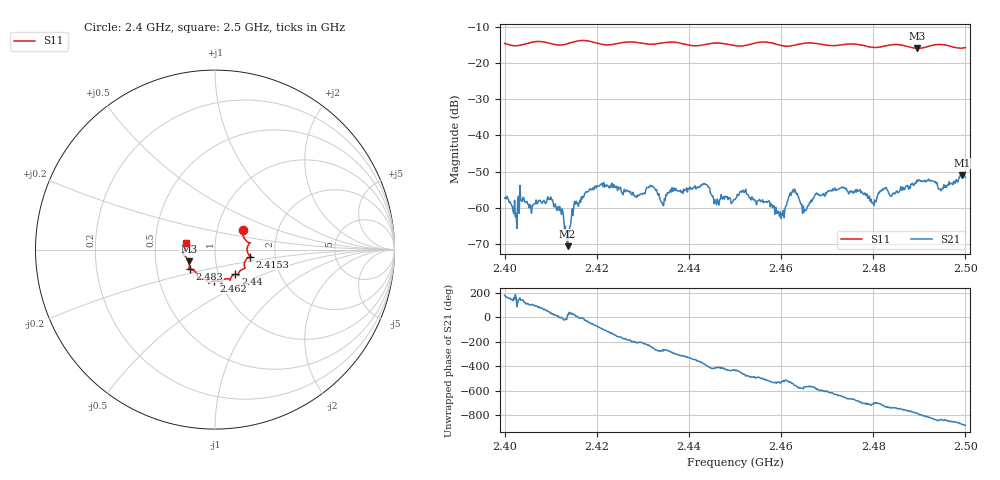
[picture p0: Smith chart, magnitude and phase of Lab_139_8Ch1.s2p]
# Hz S RI R 50
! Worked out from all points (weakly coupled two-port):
!   601 points, 2.4 GHz to 2.5 GHz, reference 50 ohm
!   highest |S21| = -50.95 dB at 2.4993 GHz (marker M1); lowest = -70.7 dB at 2.4137 GHz (marker M2)
!   lowest |S11| = -15.9 dB at 2.4895 GHz (marker M3), VSWR 1.38, Z = 36.9 - j4.99 ohm
!   |S11| at or under -10 dB: start of sweep to end of sweep
!   S12 and S22 are empty: the file has one direction only
!   S11 on the Smith chart (normalised r, x): 2.4 GHz: 1.33, +0.29; 2.4153 GHz: 1.48, -0.12; 2.44 GHz: 1.20, -0.34; 2.462 GHz: 0.93, -0.33; 2.483 GHz: 0.74, -0.17; 2.5 GHz: 0.72, +0.06
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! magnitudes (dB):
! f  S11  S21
! 2.4 GHz  -14.5  -57.3
! 2.4022 GHz  -15.1  -57.9
! 2.4038 GHz  -14.9  -58.3
! 2.4098 GHz  -14.5  -57.8
! 2.4137 GHz  -14.6  -70.7
! 2.4153 GHz  -14.0  -59.0
! 2.4167 GHz  -13.7  -57.0
! 2.421 GHz  -14.7  -53.3
! 2.4333 GHz  -14.6  -56.5
! 2.44 GHz  -15.0  -54.9
! 2.45 GHz  -15.1  -57.8
! 2.4602 GHz  -15.1  -61.7
! 2.462 GHz  -15.2  -55.9
! 2.4652 GHz  -14.4  -60.7
! 2.4667 GHz  -14.4  -58.3
! 2.4733 GHz  -14.9  -54.5
! 2.4802 GHz  -15.6  -59.4
! 2.483 GHz  -15.1  -55.1
! 2.4833 GHz  -15.0  -55.9
! 2.4895 GHz  -15.9  -52.4
! 2.4993 GHz  -15.8  -50.9
! 2.5 GHz  -15.7  -51.6
